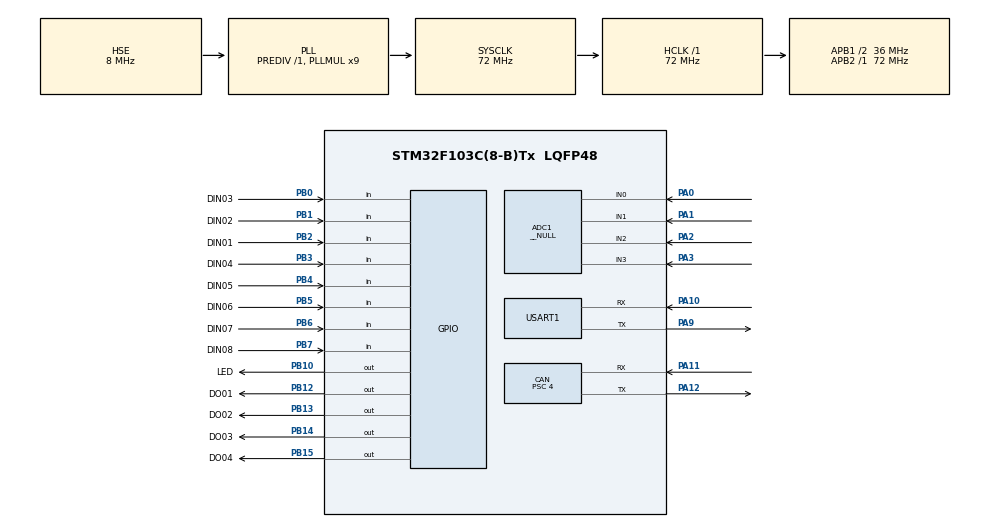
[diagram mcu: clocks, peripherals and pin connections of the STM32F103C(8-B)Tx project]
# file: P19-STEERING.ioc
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ADC1.Channel-12\#ChannelRegularConversion=ADC_CHANNEL_0
ADC1.Channel-13\#ChannelRegularConversion=ADC_CHANNEL_1
ADC1.Channel-14\#ChannelRegularConversion=ADC_CHANNEL_2
ADC1.Channel-15\#ChannelRegularConversion=ADC_CHANNEL_3
ADC1.ContinuousConvMode=ENABLE
ADC1.Mode=__NULL
ADC1.NbrOfConversion=4
ADC1.NbrOfConversionFlag=1
ADC1.Rank-12\#ChannelRegularConversion=1
ADC1.Rank-13\#ChannelRegularConversion=2
ADC1.Rank-14\#ChannelRegularConversion=3
ADC1.Rank-15\#ChannelRegularConversion=4
ADC1.SamplingTime-12\#ChannelRegularConversion=ADC_SAMPLETIME_71CYCLES_5
ADC1.SamplingTime-13\#ChannelRegularConversion=ADC_SAMPLETIME_71CYCLES_5
ADC1.SamplingTime-14\#ChannelRegularConversion=ADC_SAMPLETIME_71CYCLES_5
ADC1.SamplingTime-15\#ChannelRegularConversion=ADC_SAMPLETIME_71CYCLES_5
ADC1.master=1
CAN.ABOM=ENABLE
CAN.BS1=CAN_BS1_6TQ
CAN.BS2=CAN_BS2_2TQ
CAN.CalculateBaudRate=1000000
CAN.CalculateTimeBit=1000
CAN.CalculateTimeQuantum=111.11111111111111
CAN.Prescaler=4
Dma.ADC1.0.Direction=DMA_PERIPH_TO_MEMORY
Dma.ADC1.0.Instance=DMA1_Channel1
Dma.ADC1.0.MemDataAlignment=DMA_MDATAALIGN_HALFWORD
Dma.ADC1.0.MemInc=DMA_MINC_ENABLE
Dma.ADC1.0.Mode=DMA_CIRCULAR
Dma.ADC1.0.PeriphDataAlignment=DMA_PDATAALIGN_HALFWORD
Dma.ADC1.0.PeriphInc=DMA_PINC_DISABLE
Dma.ADC1.0.Priority=DMA_PRIORITY_LOW
Dma.Request0=ADC1
Mcu.Family=STM32F1
Mcu.Name=STM32F103C(8-B)Tx
Mcu.Package=LQFP48
NVIC.DMA1_Channel1_IRQn=true\:0\:0\:false\:false\:true\:false\:true\:true
NVIC.PriorityGroup=NVIC_PRIORITYGROUP_4
NVIC.TIM3_IRQn=true\:0\:0\:false\:false\:true\:true\:true\:true
NVIC.USB_LP_CAN1_RX0_IRQn=true\:0\:0\:false\:false\:true\:true\:true\:true
PA0-WKUP.Signal=ADCx_IN0
PA1.Signal=ADCx_IN1
PA10.Mode=Asynchronous
PA10.Signal=USART1_RX
PA11.Mode=CAN_Activate
PA11.Signal=CAN_RX
PA12.Mode=CAN_Activate
PA12.Signal=CAN_TX
PA13.Mode=Serial_Wire
PA13.Signal=SYS_JTMS-SWDIO
PA14.Mode=Serial_Wire
PA14.Signal=SYS_JTCK-SWCLK
PA2.Signal=ADCx_IN2
PA3.Signal=ADCx_IN3
PA9.Mode=Asynchronous
PA9.Signal=USART1_TX
PB0.GPIO_Label=DIN03
PB0.Signal=GPIO_Input
PB1.GPIO_Label=DIN02
PB1.Signal=GPIO_Input
PB10.GPIO_Label=LED
PB10.PinState=GPIO_PIN_SET
PB10.Signal=GPIO_Output
PB12.GPIO_Label=DO01
PB12.Signal=GPIO_Output
PB13.GPIO_Label=DO02
PB13.Signal=GPIO_Output
PB14.GPIO_Label=DO03
PB14.Signal=GPIO_Output
PB15.GPIO_Label=DO04
PB15.Signal=GPIO_Output
PB2.GPIO_Label=DIN01
PB2.Signal=GPIO_Input
PB3.GPIO_Label=DIN04
PB3.Signal=GPIO_Input
PB4.GPIO_Label=DIN05
PB4.Signal=GPIO_Input
PB5.GPIO_Label=DIN06
PB5.Signal=GPIO_Input
PB6.GPIO_Label=DIN07
PB6.GPIO_PuPd=GPIO_NOPULL
PB6.Signal=GPIO_Input
PB7.GPIO_Label=DIN08
PB7.GPIO_PuPd=GPIO_NOPULL
PB7.Signal=GPIO_Input
PD0-OSC_IN.Mode=HSE-External-Oscillator
PD0-OSC_IN.Signal=RCC_OSC_IN
PD1-OSC_OUT.Mode=HSE-External-Oscillator
PD1-OSC_OUT.Signal=RCC_OSC_OUT
ProjectManager.HeapSize=0x200
ProjectManager.StackSize=0x400
ProjectManager.TargetToolchain=STM32CubeIDE
RCC.ADCPresc=RCC_ADCPCLK2_DIV8
RCC.AHBFreq_Value=72000000
RCC.APB1CLKDivider=RCC_HCLK_DIV2
RCC.APB1Freq_Value=36000000
RCC.APB1TimFreq_Value=72000000
RCC.APB2Freq_Value=72000000
RCC.APB2TimFreq_Value=72000000
RCC.HCLKFreq_Value=72000000
RCC.PLLMUL=RCC_PLL_MUL9
RCC.PLLSourceVirtual=RCC_PLLSOURCE_HSE
RCC.SYSCLKFreq_VALUE=72000000
RCC.SYSCLKSource=RCC_SYSCLKSOURCE_PLLCLK
RCC.USBFreq_Value=72000000
SH.ADCx_IN0.0=ADC1_IN0,IN0
SH.ADCx_IN1.0=ADC1_IN1,IN1
SH.ADCx_IN2.0=ADC1_IN2,IN2
SH.ADCx_IN3.0=ADC1_IN3,IN3
TIM1.Prescaler=72-1
TIM2.Period=999
TIM2.Prescaler=1440
TIM3.Period=100-1
TIM3.Prescaler=7200-1
USART1.VirtualMode=VM_ASYNC
VP_TIM1_VS_ClockSourceINT.Mode=Internal
VP_TIM2_VS_ClockSourceINT.Mode=Internal
VP_TIM3_VS_ClockSourceINT.Mode=Internal
board=custom

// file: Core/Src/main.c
/* USER CODE BEGIN Header */
/**
  ******************************************************************************
  * @file           : main.c
  * @brief          : Main program body
  ******************************************************************************
  * @attention
  *
  * Copyright (c) 2024 STMicroelectronics.
  * All rights reserved.
  *
  * This software is licensed under terms that can be found in the LICENSE file
  * in the root directory of this software component.
  * If no LICENSE file comes with this software, it is provided AS-IS.
  *
  ******************************************************************************
  */
/* USER CODE END Header */
#include "main.h"

/* USER CODE BEGIN Includes */

#include <Output.h>

/* USER CODE END Includes */

ADC_HandleTypeDef hadc1;
DMA_HandleTypeDef hdma_adc1;

CAN_HandleTypeDef hcan;

TIM_HandleTypeDef htim1;
TIM_HandleTypeDef htim2;
TIM_HandleTypeDef htim3;

UART_HandleTypeDef huart1;

/* USER CODE BEGIN PV */

uint16_t adcRawValue[ADC_BUFFER_SIZE];
volatile uint8_t BCycleTimerFlag = 0;

InputStruct Inputs;

/* USER CODE END PV */

void SystemClock_Config(void);
static void MX_GPIO_Init(void);
static void MX_DMA_Init(void);
static void MX_TIM2_Init(void);
static void MX_ADC1_Init(void);
static void MX_CAN_Init(void);
static void MX_USART1_UART_Init(void);
static void MX_TIM1_Init(void);
static void MX_TIM3_Init(void);

int main(void)
{

  /* MCU Configuration--------------------------------------------------------*/

  /* Reset of all peripherals, Initializes the Flash interface and the Systick. */
  HAL_Init();

  /* Configure the system clock */
  SystemClock_Config();

  /* Initialize all configured peripherals */
  MX_GPIO_Init();
  MX_DMA_Init();
  MX_TIM2_Init();
  MX_ADC1_Init();
  MX_CAN_Init();
  MX_USART1_UART_Init();
  MX_TIM1_Init();
  MX_TIM3_Init();
  /* USER CODE BEGIN 2 */

  HAL_TIM_Base_Start(&htim1);		// general 1MHz timer for timing
  HAL_TIM_Base_Start_IT(&htim3);	// Code Cycle timer with interrupt (100Hz)

  InitInputs();
  InitOutput();

  /* USER CODE END 2 */

  /* Infinite loop */
  /* USER CODE BEGIN WHILE */
  while (1)
  {

	  if(BCycleTimerFlag) {
		  BCycleTimerFlag = 0;
		  ReadInputs(&Inputs);
		  Output(&Inputs);
	  }

    /* USER CODE END WHILE */

  }
}

void SystemClock_Config(void)
{
  RCC_OscInitTypeDef RCC_OscInitStruct = {0};
  RCC_ClkInitTypeDef RCC_ClkInitStruct = {0};
  RCC_PeriphCLKInitTypeDef PeriphClkInit = {0};

  /** Initializes the RCC Oscillators according to the specified parameters
  * in the RCC_OscInitTypeDef structure.
  */
  RCC_OscInitStruct.OscillatorType = RCC_OSCILLATORTYPE_HSE;
  RCC_OscInitStruct.HSEState = RCC_HSE_ON;
  RCC_OscInitStruct.HSEPredivValue = RCC_HSE_PREDIV_DIV1;
  RCC_OscInitStruct.HSIState = RCC_HSI_ON;
  RCC_OscInitStruct.PLL.PLLState = RCC_PLL_ON;
  RCC_OscInitStruct.PLL.PLLSource = RCC_PLLSOURCE_HSE;
  RCC_OscInitStruct.PLL.PLLMUL = RCC_PLL_MUL9;
  if (HAL_RCC_OscConfig(&RCC_OscInitStruct) != HAL_OK)
  {
    Error_Handler();
  }

  /** Initializes the CPU, AHB and APB buses clocks
  */
  RCC_ClkInitStruct.ClockType = RCC_CLOCKTYPE_HCLK|RCC_CLOCKTYPE_SYSCLK
                              |RCC_CLOCKTYPE_PCLK1|RCC_CLOCKTYPE_PCLK2;
  RCC_ClkInitStruct.SYSCLKSource = RCC_SYSCLKSOURCE_PLLCLK;
  RCC_ClkInitStruct.AHBCLKDivider = RCC_SYSCLK_DIV1;
  RCC_ClkInitStruct.APB1CLKDivider = RCC_HCLK_DIV2;
  RCC_ClkInitStruct.APB2CLKDivider = RCC_HCLK_DIV1;

  if (HAL_RCC_ClockConfig(&RCC_ClkInitStruct, FLASH_LATENCY_2) != HAL_OK)
  {
    Error_Handler();
  }
  PeriphClkInit.PeriphClockSelection = RCC_PERIPHCLK_ADC;
  PeriphClkInit.AdcClockSelection = RCC_ADCPCLK2_DIV8;
  if (HAL_RCCEx_PeriphCLKConfig(&PeriphClkInit) != HAL_OK)
  {
    Error_Handler();
  }
}

static void MX_ADC1_Init(void)
{

  ADC_ChannelConfTypeDef sConfig = {0};

  /** Common config
  */
  hadc1.Instance = ADC1;
  hadc1.Init.ScanConvMode = ADC_SCAN_ENABLE;
  hadc1.Init.ContinuousConvMode = ENABLE;
  hadc1.Init.DiscontinuousConvMode = DISABLE;
  hadc1.Init.ExternalTrigConv = ADC_SOFTWARE_START;
  hadc1.Init.DataAlign = ADC_DATAALIGN_RIGHT;
  hadc1.Init.NbrOfConversion = 4;
  if (HAL_ADC_Init(&hadc1) != HAL_OK)
  {
    Error_Handler();
  }

  /** Configure Regular Channel
  */
  sConfig.Channel = ADC_CHANNEL_0;
  sConfig.Rank = ADC_REGULAR_RANK_1;
  sConfig.SamplingTime = ADC_SAMPLETIME_71CYCLES_5;
  if (HAL_ADC_ConfigChannel(&hadc1, &sConfig) != HAL_OK)
  {
    Error_Handler();
  }

  /** Configure Regular Channel
  */
  sConfig.Channel = ADC_CHANNEL_1;
  sConfig.Rank = ADC_REGULAR_RANK_2;
  if (HAL_ADC_ConfigChannel(&hadc1, &sConfig) != HAL_OK)
  {
    Error_Handler();
  }

  /** Configure Regular Channel
  */
  sConfig.Channel = ADC_CHANNEL_2;
  sConfig.Rank = ADC_REGULAR_RANK_3;
  if (HAL_ADC_ConfigChannel(&hadc1, &sConfig) != HAL_OK)
  {
    Error_Handler();
  }

  /** Configure Regular Channel
  */
  sConfig.Channel = ADC_CHANNEL_3;
  sConfig.Rank = ADC_REGULAR_RANK_4;
  if (HAL_ADC_ConfigChannel(&hadc1, &sConfig) != HAL_OK)
  {
    Error_Handler();
  }

}

static void MX_CAN_Init(void)
{

  hcan.Instance = CAN1;
  hcan.Init.Prescaler = 4;
  hcan.Init.Mode = CAN_MODE_NORMAL;
  hcan.Init.SyncJumpWidth = CAN_SJW_1TQ;
  hcan.Init.TimeSeg1 = CAN_BS1_6TQ;
  hcan.Init.TimeSeg2 = CAN_BS2_2TQ;
  hcan.Init.TimeTriggeredMode = DISABLE;
  hcan.Init.AutoBusOff = ENABLE;
  hcan.Init.AutoWakeUp = DISABLE;
  hcan.Init.AutoRetransmission = DISABLE;
  hcan.Init.ReceiveFifoLocked = DISABLE;
  hcan.Init.TransmitFifoPriority = DISABLE;
  if (HAL_CAN_Init(&hcan) != HAL_OK)
  {
    Error_Handler();
  }
  /* USER CODE BEGIN CAN_Init 2 */

  // SIU RECEIVE
     CAN_FilterTypeDef FilterConfig1;
     FilterConfig1.FilterIdHigh = SHIFTER_TX_ID01 << 5 ;
     FilterConfig1.FilterIdLow = 0;
     FilterConfig1.FilterMaskIdHigh = 0xffe0;
     FilterConfig1.FilterMaskIdLow = 0;
     FilterConfig1.FilterFIFOAssignment = CAN_FILTER_FIFO0;
     FilterConfig1.FilterBank = 0;
     FilterConfig1.SlaveStartFilterBank = 0;
     FilterConfig1.FilterMode = CAN_FILTERMODE_IDMASK;
     FilterConfig1.FilterScale = CAN_FILTERSCALE_32BIT;
     FilterConfig1.FilterActivation = ENABLE;

     if(HAL_CAN_ConfigFilter(&hcan, &FilterConfig1)!=HAL_OK) {
   	  Error_Handler();
   	}

     CAN_FilterTypeDef FilterConfig11;
     FilterConfig11.FilterIdHigh = SHIFTER_TX_ID01 << 5 ;
     FilterConfig11.FilterIdLow = 0;
     FilterConfig11.FilterMaskIdHigh = 0xffe0;
     FilterConfig11.FilterMaskIdLow = 0;
     FilterConfig11.FilterFIFOAssignment = CAN_FILTER_FIFO1;
     FilterConfig11.FilterBank = 1;
     FilterConfig11.SlaveStartFilterBank = 0;
     FilterConfig11.FilterMode = CAN_FILTERMODE_IDMASK;
     FilterConfig11.FilterScale = CAN_FILTERSCALE_32BIT;
     FilterConfig11.FilterActivation = ENABLE;

     if(HAL_CAN_ConfigFilter(&hcan, &FilterConfig11)!=HAL_OK) {
   	  Error_Handler();
   	}

     // we activate the notifications (interrupts) for FIFO0
     if (HAL_CAN_ActivateNotification(&hcan, CAN_IT_RX_FIFO0_MSG_PENDING) != HAL_OK) {
  	   Error_Handler();
   	}
     // we activate the notifications (interrupts) for FIFO1
     if (HAL_CAN_ActivateNotification(&hcan, CAN_IT_RX_FIFO1_MSG_PENDING) != HAL_OK) {
  	   Error_Handler();
   	}
     // we activate the notifications (interrupts) for all error codes
     if(HAL_CAN_ActivateNotification(&hcan, (CAN_IT_ERROR_WARNING | CAN_IT_ERROR_PASSIVE | CAN_IT_BUSOFF | CAN_IT_LAST_ERROR_CODE | CAN_IT_ERROR)) != HAL_OK) {
  	   Error_Handler();
     }
     // we start the CAN
     if(HAL_CAN_Start(&hcan)!=HAL_OK) {
   	  Error_Handler();
     }
  /* USER CODE END CAN_Init 2 */

}

static void MX_TIM1_Init(void)
{

  TIM_ClockConfigTypeDef sClockSourceConfig = {0};
  TIM_MasterConfigTypeDef sMasterConfig = {0};

  htim1.Instance = TIM1;
  htim1.Init.Prescaler = 72-1;
  htim1.Init.CounterMode = TIM_COUNTERMODE_UP;
  htim1.Init.Period = 65535;
  htim1.Init.ClockDivision = TIM_CLOCKDIVISION_DIV1;
  htim1.Init.RepetitionCounter = 0;
  htim1.Init.AutoReloadPreload = TIM_AUTORELOAD_PRELOAD_DISABLE;
  if (HAL_TIM_Base_Init(&htim1) != HAL_OK)
  {
    Error_Handler();
  }
  sClockSourceConfig.ClockSource = TIM_CLOCKSOURCE_INTERNAL;
  if (HAL_TIM_ConfigClockSource(&htim1, &sClockSourceConfig) != HAL_OK)
  {
    Error_Handler();
  }
  sMasterConfig.MasterOutputTrigger = TIM_TRGO_RESET;
  sMasterConfig.MasterSlaveMode = TIM_MASTERSLAVEMODE_DISABLE;
  if (HAL_TIMEx_MasterConfigSynchronization(&htim1, &sMasterConfig) != HAL_OK)
  {
    Error_Handler();
  }

}

static void MX_TIM2_Init(void)
{

  TIM_ClockConfigTypeDef sClockSourceConfig = {0};
  TIM_MasterConfigTypeDef sMasterConfig = {0};

  htim2.Instance = TIM2;
  htim2.Init.Prescaler = 1440;
  htim2.Init.CounterMode = TIM_COUNTERMODE_UP;
  htim2.Init.Period = 999;
  htim2.Init.ClockDivision = TIM_CLOCKDIVISION_DIV1;
  htim2.Init.AutoReloadPreload = TIM_AUTORELOAD_PRELOAD_DISABLE;
  if (HAL_TIM_Base_Init(&htim2) != HAL_OK)
  {
    Error_Handler();
  }
  sClockSourceConfig.ClockSource = TIM_CLOCKSOURCE_INTERNAL;
  if (HAL_TIM_ConfigClockSource(&htim2, &sClockSourceConfig) != HAL_OK)
  {
    Error_Handler();
  }
  sMasterConfig.MasterOutputTrigger = TIM_TRGO_RESET;
  sMasterConfig.MasterSlaveMode = TIM_MASTERSLAVEMODE_DISABLE;
  if (HAL_TIMEx_MasterConfigSynchronization(&htim2, &sMasterConfig) != HAL_OK)
  {
    Error_Handler();
  }

}

static void MX_TIM3_Init(void)
{

  TIM_ClockConfigTypeDef sClockSourceConfig = {0};
  TIM_MasterConfigTypeDef sMasterConfig = {0};

  htim3.Instance = TIM3;
  htim3.Init.Prescaler = 7200-1;
  htim3.Init.CounterMode = TIM_COUNTERMODE_UP;
  htim3.Init.Period = 100-1;
  htim3.Init.ClockDivision = TIM_CLOCKDIVISION_DIV1;
  htim3.Init.AutoReloadPreload = TIM_AUTORELOAD_PRELOAD_DISABLE;
  if (HAL_TIM_Base_Init(&htim3) != HAL_OK)
  {
    Error_Handler();
  }
  sClockSourceConfig.ClockSource = TIM_CLOCKSOURCE_INTERNAL;
  if (HAL_TIM_ConfigClockSource(&htim3, &sClockSourceConfig) != HAL_OK)
  {
    Error_Handler();
  }
  sMasterConfig.MasterOutputTrigger = TIM_TRGO_RESET;
  sMasterConfig.MasterSlaveMode = TIM_MASTERSLAVEMODE_DISABLE;
  if (HAL_TIMEx_MasterConfigSynchronization(&htim3, &sMasterConfig) != HAL_OK)
  {
    Error_Handler();
  }

}

static void MX_USART1_UART_Init(void)
{

  huart1.Instance = USART1;
  huart1.Init.BaudRate = 115200;
  huart1.Init.WordLength = UART_WORDLENGTH_8B;
  huart1.Init.StopBits = UART_STOPBITS_1;
  huart1.Init.Parity = UART_PARITY_NONE;
  huart1.Init.Mode = UART_MODE_TX_RX;
  huart1.Init.HwFlowCtl = UART_HWCONTROL_NONE;
  huart1.Init.OverSampling = UART_OVERSAMPLING_16;
  if (HAL_UART_Init(&huart1) != HAL_OK)
  {
    Error_Handler();
  }

}

static void MX_DMA_Init(void)
{

  /* DMA controller clock enable */
  __HAL_RCC_DMA1_CLK_ENABLE();

  /* DMA interrupt init */
  /* DMA1_Channel1_IRQn interrupt configuration */
  HAL_NVIC_SetPriority(DMA1_Channel1_IRQn, 0, 0);
  HAL_NVIC_EnableIRQ(DMA1_Channel1_IRQn);

}

static void MX_GPIO_Init(void)
{
  GPIO_InitTypeDef GPIO_InitStruct = {0};

  /* GPIO Ports Clock Enable */
  __HAL_RCC_GPIOD_CLK_ENABLE();
  __HAL_RCC_GPIOA_CLK_ENABLE();
  __HAL_RCC_GPIOB_CLK_ENABLE();

  /*Configure GPIO pin Output Level */
  HAL_GPIO_WritePin(LED_GPIO_Port, LED_Pin, GPIO_PIN_SET);

  /*Configure GPIO pin Output Level */
  HAL_GPIO_WritePin(GPIOB, DO01_Pin|DO02_Pin|DO03_Pin|DO04_Pin, GPIO_PIN_RESET);

  /*Configure GPIO pins : DIN03_Pin DIN02_Pin DIN01_Pin DIN04_Pin
                           DIN05_Pin DIN06_Pin DIN07_Pin DIN08_Pin */
  GPIO_InitStruct.Pin = DIN03_Pin|DIN02_Pin|DIN01_Pin|DIN04_Pin
                          |DIN05_Pin|DIN06_Pin|DIN07_Pin|DIN08_Pin;
  GPIO_InitStruct.Mode = GPIO_MODE_INPUT;
  GPIO_InitStruct.Pull = GPIO_NOPULL;
  HAL_GPIO_Init(GPIOB, &GPIO_InitStruct);

  /*Configure GPIO pins : LED_Pin DO01_Pin DO02_Pin DO03_Pin
                           DO04_Pin */
  GPIO_InitStruct.Pin = LED_Pin|DO01_Pin|DO02_Pin|DO03_Pin
                          |DO04_Pin;
  GPIO_InitStruct.Mode = GPIO_MODE_OUTPUT_PP;
  GPIO_InitStruct.Pull = GPIO_NOPULL;
  GPIO_InitStruct.Speed = GPIO_SPEED_FREQ_LOW;
  HAL_GPIO_Init(GPIOB, &GPIO_InitStruct);

}

/* USER CODE BEGIN 4 */

void HAL_TIM_PeriodElapsedCallback(TIM_HandleTypeDef *htim) {

	if(htim == &htim3) {	// Code Cycle interrupt
		BCycleTimerFlag = 1;
	}
}

/* USER CODE END 4 */

void Error_Handler(void)
{
  /* USER CODE BEGIN Error_Handler_Debug */
  /* User can add his own implementation to report the HAL error return state */
  __disable_irq();
  while (1)
  {
	  HAL_Delay(200);
	  NVIC_SystemReset();
  }
  /* USER CODE END Error_Handler_Debug */
}
